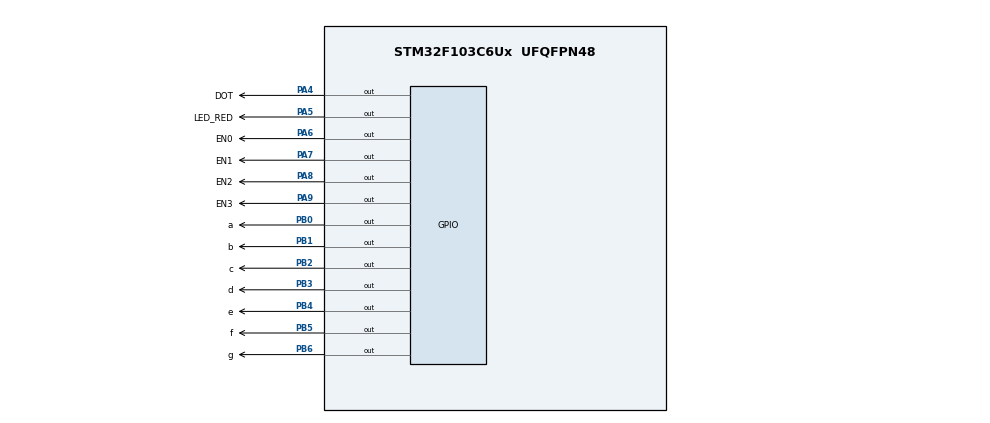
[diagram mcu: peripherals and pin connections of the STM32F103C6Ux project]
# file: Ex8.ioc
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Mcu.Family=STM32F1
Mcu.Name=STM32F103C6Ux
Mcu.Package=UFQFPN48
NVIC.PriorityGroup=NVIC_PRIORITYGROUP_4
NVIC.TIM2_IRQn=true\:0\:0\:false\:false\:true\:true\:true
PA13.Mode=Serial_Wire
PA13.Signal=SYS_JTMS-SWDIO
PA14.Mode=Serial_Wire
PA14.Signal=SYS_JTCK-SWCLK
PA4.GPIO_Label=DOT
PA4.Signal=GPIO_Output
PA5.GPIO_Label=LED_RED
PA5.Signal=GPIO_Output
PA6.GPIO_Label=EN0
PA6.Signal=GPIO_Output
PA7.GPIO_Label=EN1
PA7.Signal=GPIO_Output
PA8.GPIO_Label=EN2
PA8.Signal=GPIO_Output
PA9.GPIO_Label=EN3
PA9.Signal=GPIO_Output
PB0.GPIO_Label=a
PB0.Signal=GPIO_Output
PB1.GPIO_Label=b
PB1.Signal=GPIO_Output
PB2.GPIO_Label=c
PB2.Signal=GPIO_Output
PB3.GPIO_Label=d
PB3.Signal=GPIO_Output
PB4.GPIO_Label=e
PB4.Signal=GPIO_Output
PB5.GPIO_Label=f
PB5.Signal=GPIO_Output
PB6.GPIO_Label=g
PB6.Signal=GPIO_Output
ProjectManager.HeapSize=0x200
ProjectManager.StackSize=0x400
ProjectManager.TargetToolchain=STM32CubeIDE
RCC.APB1Freq_Value=8000000
RCC.APB2Freq_Value=8000000
TIM2.Period=9
TIM2.Prescaler=7999
VP_TIM2_VS_ClockSourceINT.Mode=Internal
board=custom

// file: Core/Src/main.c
/* USER CODE BEGIN Header */
/**
  ******************************************************************************
  * @file           : main.c
  * @brief          : Main program body
  ******************************************************************************
  * @attention
  *
  * <h2><center>&copy; Copyright (c) 2024 STMicroelectronics.
  * All rights reserved.</center></h2>
  *
  * This software component is licensed by ST under BSD 3-Clause license,
  * the "License"; You may not use this file except in compliance with the
  * License. You may obtain a copy of the License at:
  *                        opensource.org/licenses/BSD-3-Clause
  *
  ******************************************************************************
  */
/* USER CODE END Header */
#include "main.h"

TIM_HandleTypeDef htim2;

void SystemClock_Config(void);
static void MX_GPIO_Init(void);
static void MX_TIM2_Init(void);
void display7SEG(int num);
/* USER CODE BEGIN PFP */

const int MAX_LED = 4;
int index_led = 0;
int led_buffer [4] = {0, 0, 0, 0};
void update7SEG ( int index )
{
	switch ( index )
	{
	case 0:
		HAL_GPIO_WritePin ( EN0_GPIO_Port , EN0_Pin ,GPIO_PIN_RESET );
		HAL_GPIO_WritePin ( EN1_GPIO_Port , EN1_Pin ,GPIO_PIN_SET );
		HAL_GPIO_WritePin ( EN2_GPIO_Port , EN2_Pin ,GPIO_PIN_SET );
		HAL_GPIO_WritePin ( EN3_GPIO_Port , EN3_Pin ,GPIO_PIN_SET );
		display7SEG ( led_buffer [0]) ;
		break;

	case 1:
		HAL_GPIO_WritePin ( EN0_GPIO_Port , EN0_Pin ,GPIO_PIN_SET );
		HAL_GPIO_WritePin ( EN1_GPIO_Port , EN1_Pin ,GPIO_PIN_RESET );
		HAL_GPIO_WritePin ( EN2_GPIO_Port , EN2_Pin ,GPIO_PIN_SET );
		HAL_GPIO_WritePin ( EN3_GPIO_Port , EN3_Pin ,GPIO_PIN_SET );
		display7SEG ( led_buffer [1]) ;
		break;
	case 2:
		HAL_GPIO_WritePin ( EN0_GPIO_Port , EN0_Pin ,GPIO_PIN_SET );
		HAL_GPIO_WritePin ( EN1_GPIO_Port , EN1_Pin ,GPIO_PIN_SET );
		HAL_GPIO_WritePin ( EN2_GPIO_Port , EN2_Pin ,GPIO_PIN_RESET );
		HAL_GPIO_WritePin ( EN3_GPIO_Port , EN3_Pin ,GPIO_PIN_SET );
		display7SEG ( led_buffer [2]) ;
		break;
	case 3:
		HAL_GPIO_WritePin ( EN0_GPIO_Port , EN0_Pin ,GPIO_PIN_SET );
		HAL_GPIO_WritePin ( EN1_GPIO_Port , EN1_Pin ,GPIO_PIN_SET );
		HAL_GPIO_WritePin ( EN2_GPIO_Port , EN2_Pin ,GPIO_PIN_SET );
		HAL_GPIO_WritePin ( EN3_GPIO_Port , EN3_Pin ,GPIO_PIN_RESET );
		display7SEG ( led_buffer [3]) ;
		break;
	default:
		break;
	}
}

//int led_buffer [4] = {0, 0, 0, 0};
int hour = 18;
int minute = 10;
int second = 50;
void updateClockBuffer ( int hour, int minute)
{
	if (hour <= 9)
		{
			led_buffer [1] = hour;
			led_buffer [0] = 0;
		}
		else
		{
			led_buffer [1] = hour % 10;
			led_buffer [0] = hour / 10;
		}
	if (minute <= 9)
	{
		led_buffer [3] = minute;
		led_buffer [2] = 0;
	}
	else
	{
		led_buffer [3] = minute % 10;
		led_buffer [2] = minute / 10;
	}

}

/* USER CODE END PFP */

/* USER CODE BEGIN 0 */
int timer0_counter = 0;
int timer0_flag = 0;
int timer1_counter = 0;
int timer1_flag = 0;
int timer2_counter = 0;
int timer2_flag = 0;
int TIMER_CYCLE = 10;

void setTimer0 (int duration ){
	timer0_counter = duration / TIMER_CYCLE ;
	timer0_flag = 0;
}

void setTimer1 (int duration ){
	timer1_counter = duration / TIMER_CYCLE ;
	timer1_flag = 0;
}

void setTimer2 (int duration ){
	timer2_counter = duration / TIMER_CYCLE ;
	timer2_flag = 0;
}

void timerRun() {
	if(timer0_counter > 0) {
		timer0_counter--;
		if(timer0_counter <= 0) {
			timer0_flag = 1;
		}
	}
	if(timer1_counter > 0) {
		timer1_counter--;
		if(timer1_counter <= 0) {
			timer1_flag = 1;
		}
	}
	if(timer2_counter > 0) {
		timer2_counter--;
		if(timer2_counter <= 0) {
				timer2_flag = 1;
		}
	}
}
/* USER CODE END 0 */

int main(void)
{

  /* MCU Configuration--------------------------------------------------------*/

  /* Reset of all peripherals, Initializes the Flash interface and the Systick. */
  HAL_Init();

  /* Configure the system clock */
  SystemClock_Config();

  /* Initialize all configured peripherals */
  MX_GPIO_Init();
  MX_TIM2_Init();
  /* USER CODE BEGIN 2 */
  HAL_TIM_Base_Start_IT (& htim2 );
  /* USER CODE END 2 */

  /* Infinite loop */
  /* USER CODE BEGIN WHILE */

  setTimer0 (1000) ;
  setTimer1 (1000) ;
  setTimer2 (250) ;
  while (1)
  {
	  if ( timer0_flag == 1)
	  {
		  HAL_GPIO_TogglePin ( LED_RED_GPIO_Port , LED_RED_Pin );
		  HAL_GPIO_TogglePin (DOT_GPIO_Port, DOT_Pin) ;
		  setTimer0 (1000) ;
	  }
	  if( timer1_flag == 1)
	  {
		  second ++;
		  if ( second >= 60) {
			  second = 0;
			  minute ++;
		  }
		  if( minute >= 60) {
			  minute = 0;
			  hour ++;
		  }
		  if( hour >=24){
			  hour = 0;
		  }
		  updateClockBuffer (hour,minute);
		  setTimer1 (1000) ;
	  }
	  if ( timer2_flag == 1)
	 	  {
		      update7SEG ( index_led ++) ;
		      if ( index_led > 3) index_led = 0;
	 		  setTimer2 (250) ;
	 	  }

    /* USER CODE END WHILE */

  }
}

void display7SEG(int num)
{
    if (num == 0)
    {
        HAL_GPIO_WritePin(a_GPIO_Port, a_Pin, RESET);
        HAL_GPIO_WritePin(b_GPIO_Port, b_Pin, RESET);
        HAL_GPIO_WritePin(c_GPIO_Port, c_Pin, RESET);
        HAL_GPIO_WritePin(d_GPIO_Port, d_Pin, RESET);
        HAL_GPIO_WritePin(e_GPIO_Port, e_Pin, RESET);
        HAL_GPIO_WritePin(f_GPIO_Port, f_Pin, RESET);
        HAL_GPIO_WritePin(g_GPIO_Port, g_Pin, SET);
    }

    else if (num == 1)
    {
        HAL_GPIO_WritePin(a_GPIO_Port, a_Pin, SET);
        HAL_GPIO_WritePin(b_GPIO_Port, b_Pin, RESET);
        HAL_GPIO_WritePin(c_GPIO_Port, c_Pin, RESET);
        HAL_GPIO_WritePin(d_GPIO_Port, d_Pin, SET);
        HAL_GPIO_WritePin(e_GPIO_Port, e_Pin, SET);
        HAL_GPIO_WritePin(f_GPIO_Port, f_Pin, SET);
        HAL_GPIO_WritePin(g_GPIO_Port, g_Pin, SET);
    }

    else if (num == 2)
    {
        HAL_GPIO_WritePin(a_GPIO_Port, a_Pin, RESET);
        HAL_GPIO_WritePin(b_GPIO_Port, b_Pin, RESET);
        HAL_GPIO_WritePin(c_GPIO_Port, c_Pin, SET);
        HAL_GPIO_WritePin(d_GPIO_Port, d_Pin, RESET);
        HAL_GPIO_WritePin(e_GPIO_Port, e_Pin, RESET);
        HAL_GPIO_WritePin(f_GPIO_Port, f_Pin, SET);
        HAL_GPIO_WritePin(g_GPIO_Port, g_Pin, RESET);
    }

    else if (num == 3)
    {
        HAL_GPIO_WritePin(a_GPIO_Port, a_Pin, RESET);
        HAL_GPIO_WritePin(b_GPIO_Port, b_Pin, RESET);
        HAL_GPIO_WritePin(c_GPIO_Port, c_Pin, RESET);
        HAL_GPIO_WritePin(d_GPIO_Port, d_Pin, RESET);
        HAL_GPIO_WritePin(e_GPIO_Port, e_Pin, SET);
        HAL_GPIO_WritePin(f_GPIO_Port, f_Pin, SET);
        HAL_GPIO_WritePin(g_GPIO_Port, g_Pin, RESET);
    }

    else if (num == 4)
    {
        HAL_GPIO_WritePin(a_GPIO_Port, a_Pin, SET);
        HAL_GPIO_WritePin(b_GPIO_Port, b_Pin, RESET);
        HAL_GPIO_WritePin(c_GPIO_Port, c_Pin, RESET);
        HAL_GPIO_WritePin(d_GPIO_Port, d_Pin, SET);
        HAL_GPIO_WritePin(e_GPIO_Port, e_Pin, SET);
        HAL_GPIO_WritePin(f_GPIO_Port, f_Pin, RESET);
        HAL_GPIO_WritePin(g_GPIO_Port, g_Pin, RESET);
    }

    else if (num == 5)
    {
        HAL_GPIO_WritePin(a_GPIO_Port, a_Pin, RESET);
        HAL_GPIO_WritePin(b_GPIO_Port, b_Pin, SET);
        HAL_GPIO_WritePin(c_GPIO_Port, c_Pin, RESET);
        HAL_GPIO_WritePin(d_GPIO_Port, d_Pin, RESET);
        HAL_GPIO_WritePin(e_GPIO_Port, e_Pin, SET);
        HAL_GPIO_WritePin(f_GPIO_Port, f_Pin, RESET);
        HAL_GPIO_WritePin(g_GPIO_Port, g_Pin, RESET);
    }

    else if (num == 6)
    {
        HAL_GPIO_WritePin(a_GPIO_Port, a_Pin, RESET);
        HAL_GPIO_WritePin(b_GPIO_Port, b_Pin, SET);
        HAL_GPIO_WritePin(c_GPIO_Port, c_Pin, RESET);
        HAL_GPIO_WritePin(d_GPIO_Port, d_Pin, RESET);
        HAL_GPIO_WritePin(e_GPIO_Port, e_Pin, RESET);
        HAL_GPIO_WritePin(f_GPIO_Port, f_Pin, RESET);
        HAL_GPIO_WritePin(g_GPIO_Port, g_Pin, RESET);
    }

    else if (num == 7)
    {
        HAL_GPIO_WritePin(a_GPIO_Port, a_Pin, RESET);
        HAL_GPIO_WritePin(b_GPIO_Port, b_Pin, RESET);
        HAL_GPIO_WritePin(c_GPIO_Port, c_Pin, RESET);
        HAL_GPIO_WritePin(d_GPIO_Port, d_Pin, SET);
        HAL_GPIO_WritePin(e_GPIO_Port, e_Pin, SET);
        HAL_GPIO_WritePin(f_GPIO_Port, f_Pin, SET);
        HAL_GPIO_WritePin(g_GPIO_Port, g_Pin, SET);
    }

    else if (num == 8)
    {
        HAL_GPIO_WritePin(a_GPIO_Port, a_Pin, RESET);
        HAL_GPIO_WritePin(b_GPIO_Port, b_Pin, RESET);
        HAL_GPIO_WritePin(c_GPIO_Port, c_Pin, RESET);
        HAL_GPIO_WritePin(d_GPIO_Port, d_Pin, RESET);
        HAL_GPIO_WritePin(e_GPIO_Port, e_Pin, RESET);
        HAL_GPIO_WritePin(f_GPIO_Port, f_Pin, RESET);
        HAL_GPIO_WritePin(g_GPIO_Port, g_Pin, RESET);
    }

    else if (num == 9)
    {
        HAL_GPIO_WritePin(a_GPIO_Port, a_Pin, RESET);
        HAL_GPIO_WritePin(b_GPIO_Port, b_Pin, RESET);
        HAL_GPIO_WritePin(c_GPIO_Port, c_Pin, RESET);
        HAL_GPIO_WritePin(d_GPIO_Port, d_Pin, RESET);
        HAL_GPIO_WritePin(e_GPIO_Port, e_Pin, SET);
        HAL_GPIO_WritePin(f_GPIO_Port, f_Pin, RESET);
        HAL_GPIO_WritePin(g_GPIO_Port, g_Pin, RESET);
    }

}

void SystemClock_Config(void)
{
  RCC_OscInitTypeDef RCC_OscInitStruct = {0};
  RCC_ClkInitTypeDef RCC_ClkInitStruct = {0};

  /** Initializes the RCC Oscillators according to the specified parameters
  * in the RCC_OscInitTypeDef structure.
  */
  RCC_OscInitStruct.OscillatorType = RCC_OSCILLATORTYPE_HSI;
  RCC_OscInitStruct.HSIState = RCC_HSI_ON;
  RCC_OscInitStruct.HSICalibrationValue = RCC_HSICALIBRATION_DEFAULT;
  RCC_OscInitStruct.PLL.PLLState = RCC_PLL_NONE;
  if (HAL_RCC_OscConfig(&RCC_OscInitStruct) != HAL_OK)
  {
    Error_Handler();
  }
  /** Initializes the CPU, AHB and APB buses clocks
  */
  RCC_ClkInitStruct.ClockType = RCC_CLOCKTYPE_HCLK|RCC_CLOCKTYPE_SYSCLK
                              |RCC_CLOCKTYPE_PCLK1|RCC_CLOCKTYPE_PCLK2;
  RCC_ClkInitStruct.SYSCLKSource = RCC_SYSCLKSOURCE_HSI;
  RCC_ClkInitStruct.AHBCLKDivider = RCC_SYSCLK_DIV1;
  RCC_ClkInitStruct.APB1CLKDivider = RCC_HCLK_DIV1;
  RCC_ClkInitStruct.APB2CLKDivider = RCC_HCLK_DIV1;

  if (HAL_RCC_ClockConfig(&RCC_ClkInitStruct, FLASH_LATENCY_0) != HAL_OK)
  {
    Error_Handler();
  }
}

static void MX_TIM2_Init(void)
{

  TIM_ClockConfigTypeDef sClockSourceConfig = {0};
  TIM_MasterConfigTypeDef sMasterConfig = {0};

  htim2.Instance = TIM2;
  htim2.Init.Prescaler = 7999;
  htim2.Init.CounterMode = TIM_COUNTERMODE_UP;
  htim2.Init.Period = 9;
  htim2.Init.ClockDivision = TIM_CLOCKDIVISION_DIV1;
  htim2.Init.AutoReloadPreload = TIM_AUTORELOAD_PRELOAD_DISABLE;
  if (HAL_TIM_Base_Init(&htim2) != HAL_OK)
  {
    Error_Handler();
  }
  sClockSourceConfig.ClockSource = TIM_CLOCKSOURCE_INTERNAL;
  if (HAL_TIM_ConfigClockSource(&htim2, &sClockSourceConfig) != HAL_OK)
  {
    Error_Handler();
  }
  sMasterConfig.MasterOutputTrigger = TIM_TRGO_RESET;
  sMasterConfig.MasterSlaveMode = TIM_MASTERSLAVEMODE_DISABLE;
  if (HAL_TIMEx_MasterConfigSynchronization(&htim2, &sMasterConfig) != HAL_OK)
  {
    Error_Handler();
  }

}

static void MX_GPIO_Init(void)
{
  GPIO_InitTypeDef GPIO_InitStruct = {0};

  /* GPIO Ports Clock Enable */
  __HAL_RCC_GPIOA_CLK_ENABLE();
  __HAL_RCC_GPIOB_CLK_ENABLE();

  /*Configure GPIO pin Output Level */
  HAL_GPIO_WritePin(GPIOA, DOT_Pin|LED_RED_Pin|EN0_Pin|EN1_Pin
                          |EN2_Pin|EN3_Pin, GPIO_PIN_RESET);

  /*Configure GPIO pin Output Level */
  HAL_GPIO_WritePin(GPIOB, a_Pin|b_Pin|c_Pin|d_Pin
                          |e_Pin|f_Pin|g_Pin, GPIO_PIN_RESET);

  /*Configure GPIO pins : DOT_Pin LED_RED_Pin EN0_Pin EN1_Pin
                           EN2_Pin EN3_Pin */
  GPIO_InitStruct.Pin = DOT_Pin|LED_RED_Pin|EN0_Pin|EN1_Pin
                          |EN2_Pin|EN3_Pin;
  GPIO_InitStruct.Mode = GPIO_MODE_OUTPUT_PP;
  GPIO_InitStruct.Pull = GPIO_NOPULL;
  GPIO_InitStruct.Speed = GPIO_SPEED_FREQ_LOW;
  HAL_GPIO_Init(GPIOA, &GPIO_InitStruct);

  /*Configure GPIO pins : a_Pin b_Pin c_Pin d_Pin
                           e_Pin f_Pin g_Pin */
  GPIO_InitStruct.Pin = a_Pin|b_Pin|c_Pin|d_Pin
                          |e_Pin|f_Pin|g_Pin;
  GPIO_InitStruct.Mode = GPIO_MODE_OUTPUT_PP;
  GPIO_InitStruct.Pull = GPIO_NOPULL;
  GPIO_InitStruct.Speed = GPIO_SPEED_FREQ_LOW;
  HAL_GPIO_Init(GPIOB, &GPIO_InitStruct);

}

/* USER CODE BEGIN 4 */
//int counter = 5;
//int counter1 = 100;
void HAL_TIM_PeriodElapsedCallback ( TIM_HandleTypeDef * htim )
{
//	counter --;
//	if( counter <= 0)
//	{
//		counter = 5;
//		update7SEG ( index_led ++) ;
//		if( index_led > 3)
//		{
//			index_led = 0;
//		}
//	}
//	counter1 --;
//	if ( counter1 <= 0)
//	{
//		counter1 = 100;
//		HAL_GPIO_TogglePin ( LED_RED_GPIO_Port , LED_RED_Pin );
//		HAL_GPIO_TogglePin ( DOT_GPIO_Port , DOT_Pin );
//	}
	timerRun();
}
/* USER CODE END 4 */

void Error_Handler(void)
{
  __disable_irq();
  while (1)
  {
  }
}

/************************ (C) COPYRIGHT STMicroelectronics *****END OF FILE****/
